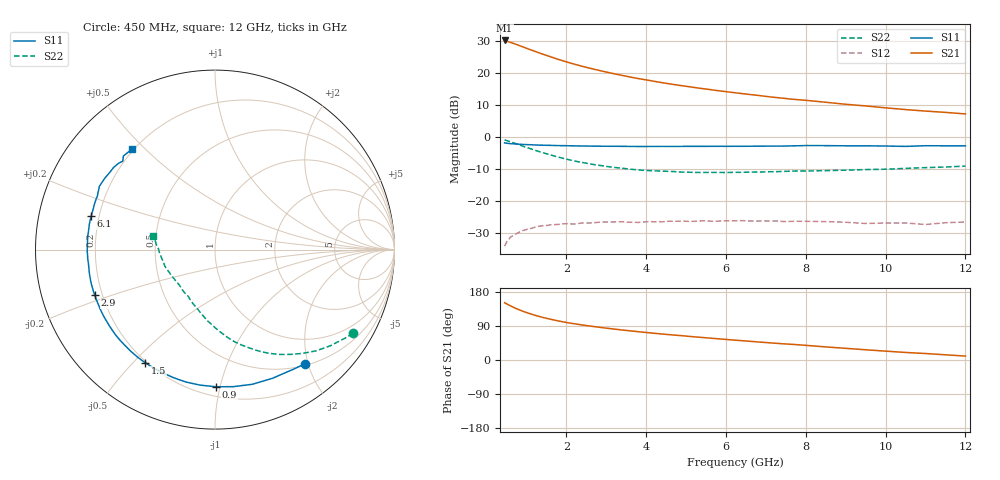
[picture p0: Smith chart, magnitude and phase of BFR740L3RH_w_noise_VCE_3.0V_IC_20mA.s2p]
! (c) 2012  Infineon Technologies AG, Munich
! Infineon Technologies  Discrete & RF Semiconductors
! BFR740L3RH
! VCE =  3.0 V,  IC =  20 mA
! Common Emitter S-Parameters:  May 2012
# GHz  S  MA  R  50
!  f  S11  S21  S12  S22
! GHz  MAG  ANG  MAG  ANG  MAG  ANG  MAG  ANG
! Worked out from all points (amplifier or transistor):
!   85 points, 450 MHz to 12 GHz, reference 50 ohm
!   highest |S21| = 30.0 dB at 450 MHz (marker M1)
!   |S21| within 3 dB of that: start of sweep to 1.124 GHz
!   unconditionally stable (mu >= 1): 6.713 GHz to end of sweep
!   at 1.8 GHz: K = 0.26, MSG = 25.7 dB, |S12| = -27.3 dB
!   at 4.6 GHz: K = 0.68, MSG = 21.4 dB, |S12| = -26.2 dB
!   at 12 GHz: K = 2.01, MAG = 11.1 dB, |S12| = -26.5 dB
!   lowest NFmin = 0.90 dB at 450 MHz
!   S11 on the Smith chart (normalised r, x): 450 MHz: 0.53, -1.94; 900 MHz: 0.26, -0.97; 1.5 GHz: 0.19, -0.54; 2.9 GHz: 0.17, -0.18; 6.1 GHz: 0.17, +0.13; 12 GHz: 0.19, +0.46
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0.45  0.8095 -51.9  31.78 151.1  0.0199 58.7  0.9001 -31.2
0.6  0.7854 -65.8  29.64 142.7  0.0275 54.6  0.837 -39.8
0.7  0.7787 -74.5  28.19 137.7  0.03 52.6  0.7974 -45.0
0.8  0.7704 -82.4  26.73 133.1  0.0325 50.1  0.7579 -49.7
0.9  0.7642 -89.6  25.34 129.0  0.0347 46.5  0.7207 -54.1
1  0.7597 -96.2  24.02 125.2  0.0362 42.8  0.6865 -58.3
1.2  0.7504 -107.7  21.62 118.4  0.0391 38.2  0.6241 -65.7
1.3  0.7458 -112.9  20.52 115.4  0.0407 36.5  0.5953 -69.0
1.5  0.7407 -121.7  18.58 110.0  0.0418 31.8  0.547 -75.1
1.7  0.7355 -129.6  16.87 105.2  0.0431 29.3  0.5043 -80.6
1.9  0.7315 -136.2  15.4 101.0  0.0442 26.8  0.467 -85.3
2.1  0.7275 -141.9  14.13 97.2  0.0443 25.3  0.4361 -89.8
2.4  0.7225 -149.3  12.55 92.4  0.0457 22.5  0.4 -95.8
2.9  0.7165 -159.2  10.57 85.3  0.0473 19.9  0.3552 -104.1
3.6  0.7115 -170.1  8.559 76.9  0.047 17.8  0.3148 -115.2
4.3  0.7112 -178.2  7.162 69.5  0.0476 16.4  0.2951 -123.8
5.2  0.7123 172.4  5.896 61.2  0.0485 15.6  0.2803 -135.1
6.1  0.7139 164.9  4.982 53.4  0.0493 13.8  0.2799 -144.9
6.3  0.7152 163.3  4.812 51.7  0.0495 13.6  0.2811 -147.0
8.5  0.7319 147.2  3.465 34.5  0.048 12.9  0.2986 -169.2
10.5  0.712 136.2  2.666 19.9  0.0457 17.0  0.3239 176.9
12  0.726 129.5  2.281 10.4  0.0474 25.4  0.3512 168.0
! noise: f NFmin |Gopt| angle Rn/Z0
0.45  0.9  0.05  14  0.11
0.9  0.9  0.05  39  0.11
1.5  0.91  0.07  66  0.1
1.9  0.92  0.09  79  0.11
2.4  0.94  0.11  89  0.11
3.5  1  0.14  106  0.1
5.5  1.13  0.2  130  0.1
8  1.32  0.27  162  0.09
10  1.5  0.31  -166  0.09
12  1.67  0.34  -144  0.12
